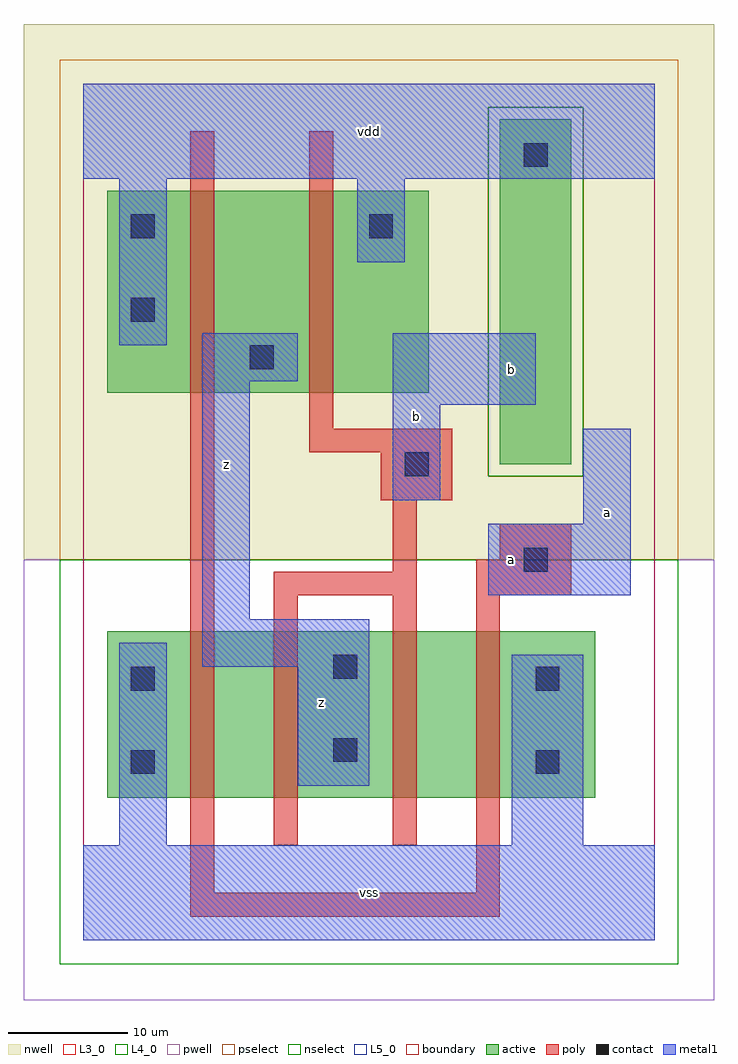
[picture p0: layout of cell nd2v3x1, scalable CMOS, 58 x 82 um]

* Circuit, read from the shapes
.subckt nd2v3x1 a b vdd vss z
M1 n1 a vss VSUBS nfet w=14u l=2u
M2 z b n1 VSUBS nfet w=14u l=2u
M3 n2 b z VSUBS nfet w=14u l=2u
M4 vss a n2 VSUBS nfet w=14u l=2u
M5 z a vdd vdd pfet w=17u l=2u
M6 vdd b z vdd pfet w=17u l=2u
.ends

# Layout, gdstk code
import gdstk
lib = gdstk.Library(unit=1e-6, precision=1e-09)
def R(c, l, rs):  # rectangles x0, y0, x1, y1
    for r in rs: c.add(gdstk.rectangle(r[:2], r[2:], *l))
L3_0 = (3, 0)
L4_0 = (4, 0)
L5_0 = (5, 0)
contact = (25, 0)
pwell = (41, 0)
nwell = (42, 0)
active = (43, 0)
pselect = (44, 0)
nselect = (45, 0)
poly = (46, 0)
metal1 = (49, 0)
boundary = (63, 0)

nd2v3x1 = lib.new_cell('nd2v3x1')
R(nd2v3x1, L3_0, [(2,12,43,26)])
R(nd2v3x1, L4_0, [(2,46,29,63)])
R(nd2v3x1, L5_0, [(35,40,41,69)])
R(nd2v3x1, contact, [(4,14,6,16), (38,14,40,16), (21,15,23,17), (4,21,6,23), (38,21,40,23), (21,22,23,24), (37,31,39,33), (27,39,29,41), (14,48,16,50), (4,52,6,54), (4,59,6,61), (24,59,26,61), (37,65,39,67)])
R(nd2v3x1, pwell, [(-5,-5,53,32)])
R(nd2v3x1, nwell, [(-5,32,53,77)])
R(nd2v3x1, active, [(2,12,43,26), (35,40,41,69), (2,46,29,63)])
R(nd2v3x1, pselect, [(-2,32,50,39), (-2,39,34,70), (42,39,50,70), (-2,70,50,74)])
R(nd2v3x1, nselect, [(-2,-2,50,32), (34,39,42,70)])
R(nd2v3x1, poly, [(9,2,35,4), (9,4,11,68), (33,4,35,29), (16,8,18,29), (26,8,28,29), (16,29,28,31), (33,29,41,32), (26,31,28,37), (35,32,41,35), (25,37,31,41), (19,41,31,43), (19,43,21,68)])
R(nd2v3x1, metal1, [(0,0,48,8), (3,8,7,25), (36,8,42,24), (18,13,24,23), (10,23,24,27), (10,27,14,47), (34,29,46,35), (42,35,46,43), (26,37,30,45), (26,45,38,51), (10,47,18,51), (3,50,7,64), (23,57,27,64), (0,64,48,72)])
R(nd2v3x1, boundary, [(0,0,48,72)])
nd2v3x1.add(gdstk.Label('z', (20,20), layer=49, texttype=0))
nd2v3x1.add(gdstk.Label('z', (12,40), layer=49, texttype=0))
nd2v3x1.add(gdstk.Label('vss', (24,4), layer=49, texttype=0))
nd2v3x1.add(gdstk.Label('b', (28,44), layer=49, texttype=0))
nd2v3x1.add(gdstk.Label('vdd', (24,68), layer=49, texttype=0))
nd2v3x1.add(gdstk.Label('a', (36,32), layer=49, texttype=0))
nd2v3x1.add(gdstk.Label('a', (44,36), layer=49, texttype=0))
nd2v3x1.add(gdstk.Label('b', (36,48), layer=49, texttype=0))

lib.write_gds('nd2v3x1.gds')
